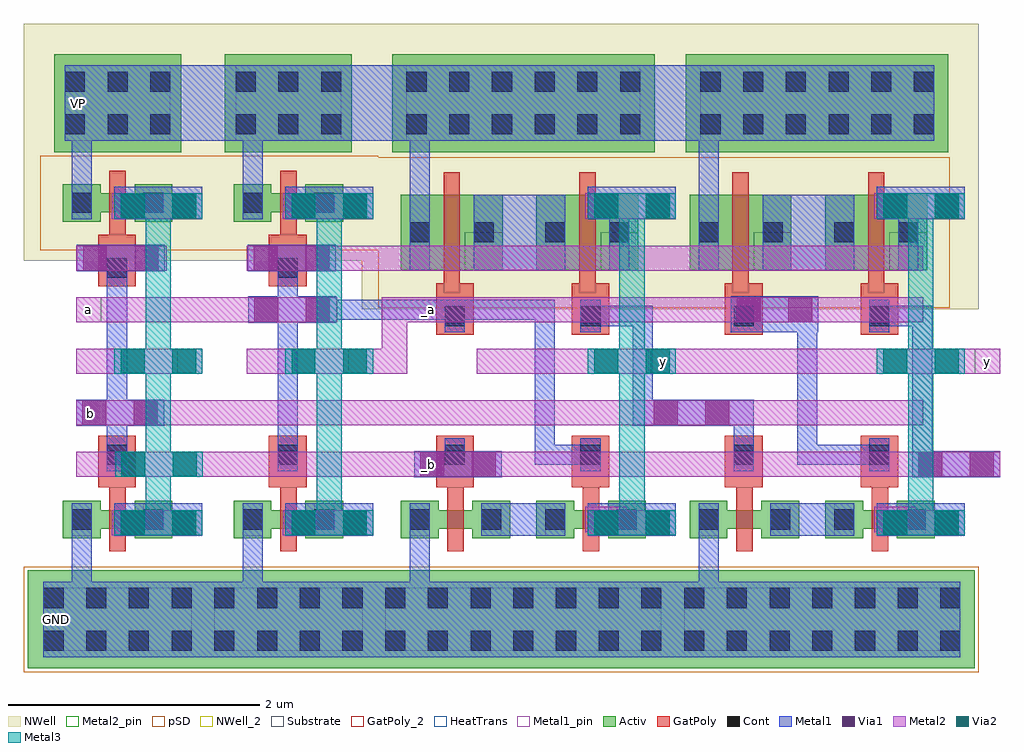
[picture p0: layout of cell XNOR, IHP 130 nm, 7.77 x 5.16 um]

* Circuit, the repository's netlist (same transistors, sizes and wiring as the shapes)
** sch_path: /foss/designs/CHIP-PLL/schematics/divider/schematics/XNOR.sch
.subckt XNOR VP GND a y b
*.PININFO y:O GND:B a:I VP:B b:I
MM1 y a net1 GND sg13_lv_nmos w=0.15u l=0.13u ng=1
MM3 net1 _b GND GND sg13_lv_nmos w=0.15u l=0.13u ng=1
MM2 net2 a VP VP sg13_lv_pmos w=0.15u l=0.13u ng=1 m=4
MM4 net3 _a VP VP sg13_lv_pmos w=0.15u l=0.13u ng=1 m=4
MM5 y _a net4 GND sg13_lv_nmos w=0.15u l=0.13u ng=1
MM6 net4 b GND GND sg13_lv_nmos w=0.15u l=0.13u ng=1
MM7 y b net2 VP sg13_lv_pmos w=0.15u l=0.13u ng=1 m=4
MM8 y _b net3 VP sg13_lv_pmos w=0.15u l=0.13u ng=1 m=4
x1 a _a VP GND inverter
x2 b _b VP GND inverter
.ends

* expanding   symbol:  inverter.sym # of pins=4
** sym_path: /foss/designs/CHIP-PLL/schematics/divider/schematics/inverter.sym
** sch_path: /foss/designs/CHIP-PLL/schematics/divider/schematics/inverter.sch
.subckt inverter IN OUT VP GND
*.PININFO IN:I VP:B OUT:O GND:B
MM1 OUT IN GND GND sg13_lv_nmos w=0.15u l=0.13u ng=1
MM2 OUT IN VP VP sg13_lv_pmos w=0.15u l=0.13u ng=1
.ends

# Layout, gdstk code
from math import pi, radians
import gdstk
lib = gdstk.Library(unit=1e-6, precision=1e-09)
def R(c, l, rs):  # rectangles x0, y0, x1, y1
    for r in rs: c.add(gdstk.rectangle(r[:2], r[2:], *l))
def A(c, l, x, y, w, h, nx, ny, dx, dy):  # array of equal rectangles
    R(c, l, [(x+i*dx, y+j*dy, x+i*dx+w, y+j*dy+h) for i in range(nx) for j in range(ny)])
Activ = (1, 0)
GatPoly = (5, 0)
GatPoly_2 = (5, 2)
Cont = (6, 0)
Metal1 = (8, 0)
Metal1_pin = (8, 2)
Metal2 = (10, 0)
Metal2_pin = (10, 2)
pSD = (14, 0)
Via1 = (19, 0)
Via2 = (29, 0)
Metal3 = (30, 0)
NWell = (31, 0)
NWell_2 = (31, 2)
Substrate = (40, 0)
HeatTrans = (51, 0)

ptap1 = lib.new_cell('ptap1')
R(ptap1, Activ, [(0,0,2.51,0.78)])
A(ptap1, Cont, 0.155, 0.14, 0.16, 0.16, 7, 2, 0.34, 0.34)
R(ptap1, Metal1, [(0.155,0.09,2.355,0.69), (0.155,0.14,2.355,0.64)])
R(ptap1, Metal1_pin, [(0.155,0.14,2.355,0.64)])
R(ptap1, pSD, [(-0.03,-0.03,2.54,0.81)])
R(ptap1, Substrate, [(0,0,2.51,0.78)])
ptap1.add(gdstk.Label('sub!', (1.255,0.01), layer=63, texttype=0))
ptap1.add(gdstk.Label('sub!', (1.255,0.01), layer=40, texttype=0))

nmos = lib.new_cell('nmos')
R(nmos, Activ, [(0,0,0.3,0.3), (0.57,0,0.87,0.3), (0,0.075,0.87,0.225)])
R(nmos, GatPoly, [(0.37,-0.105,0.5,0.405)])
R(nmos, GatPoly_2, [(0.37,-0.105,0.5,0.405)])
R(nmos, Cont, [(0.07,0.07,0.23,0.23), (0.64,0.07,0.8,0.23)])
R(nmos, Metal1, [(0.07,0.02,0.23,0.28), (0.64,0.02,0.8,0.28)])
R(nmos, Metal1_pin, [(0.07,0.02,0.23,0.28), (0.64,0.02,0.8,0.28)])
R(nmos, HeatTrans, [(0.37,-0.105,0.5,0.405)])
nmos.add(gdstk.Label('nmos', (0.435,0.15), layer=63, texttype=0))
nmos.add(gdstk.Label('nmos', (0.435,0.15), layer=51, texttype=0))

via = lib.new_cell('Via')
R(via, GatPoly, [(-0.15,-0.15,0.15,0.15)])
R(via, Cont, [(-0.08,-0.08,0.08,0.08)])
R(via, Metal1, [(-0.13,-0.08,0.13,0.08)])

ptap1_1 = lib.new_cell('ptap1$1')
R(ptap1_1, Activ, [(0,0,2.43,0.78)])
A(ptap1_1, Cont, 0.115, 0.14, 0.16, 0.16, 7, 2, 0.34, 0.34)
R(ptap1_1, Metal1, [(0.115,0.09,2.315,0.69), (0.115,0.14,2.315,0.64)])
R(ptap1_1, Metal1_pin, [(0.115,0.14,2.315,0.64)])
R(ptap1_1, pSD, [(-0.03,-0.03,2.46,0.81)])
R(ptap1_1, Substrate, [(0,0,2.43,0.78)])
ptap1_1.add(gdstk.Label('sub!', (1.215,0.01), layer=63, texttype=0))
ptap1_1.add(gdstk.Label('sub!', (1.215,0.01), layer=40, texttype=0))

via_4 = lib.new_cell('Via$4')
R(via_4, Metal2, [(-0.1,-0.35,0.1,0.35)])
R(via_4, Via2, [(-0.095,-0.3,0.095,-0.11), (-0.095,0.11,0.095,0.3)])
R(via_4, Metal3, [(-0.1,-0.35,0.1,0.35)])

via_2 = lib.new_cell('Via$2')
R(via_2, Metal1, [(-0.105,-0.35,0.105,0.35)])
R(via_2, Metal2, [(-0.1,-0.35,0.1,0.35)])
R(via_2, Via1, [(-0.095,-0.3,0.095,-0.11), (-0.095,0.11,0.095,0.3)])

via_4_1 = lib.new_cell('Via$4$1')
R(via_4_1, Metal2, [(-0.1,-0.35,0.1,0.35)])
R(via_4_1, Via2, [(-0.095,-0.3,0.095,-0.11), (-0.095,0.11,0.095,0.3)])
R(via_4_1, Metal3, [(-0.1,-0.35,0.1,0.35)])

ntap1_1 = lib.new_cell('ntap1$1')
R(ntap1_1, Activ, [(0,0,1.01,0.78)])
A(ntap1_1, Cont, 0.085, 0.14, 0.16, 0.16, 3, 2, 0.34, 0.34)
R(ntap1_1, Metal1, [(0.085,0.09,0.925,0.69)])
R(ntap1_1, Metal1_pin, [(0.085,0.09,0.925,0.69), (0.085,0.14,0.925,0.64)])
R(ntap1_1, NWell, [(-0.24,-0.24,1.25,1.02), (0,0,1.01,0.78)])
R(ntap1_1, NWell_2, [(0,0,1.01,0.78)])
ntap1_1.add(gdstk.Label('well', (0.505,0.01), layer=63, texttype=0))
ntap1_1.add(gdstk.Label('well', (0.505,0.01), layer=31, texttype=0))

ptap1_2 = lib.new_cell('ptap1$2')
R(ptap1_2, Activ, [(0,0,1.43,0.78)])
A(ptap1_2, Cont, 0.125, 0.14, 0.16, 0.16, 4, 2, 0.34, 0.34)
R(ptap1_2, Metal1, [(0.125,0.09,1.305,0.69), (0.125,0.14,1.305,0.64)])
R(ptap1_2, Metal1_pin, [(0.125,0.14,1.305,0.64)])
R(ptap1_2, pSD, [(-0.03,-0.03,1.46,0.81)])
R(ptap1_2, Substrate, [(0,0,1.43,0.78)])
ptap1_2.add(gdstk.Label('sub!', (0.715,0.01), layer=63, texttype=0))
ptap1_2.add(gdstk.Label('sub!', (0.715,0.01), layer=40, texttype=0))

via_2_1 = lib.new_cell('Via$2$1')
R(via_2_1, Metal1, [(-0.105,-0.35,0.105,0.35)])
R(via_2_1, Metal2, [(-0.1,-0.35,0.1,0.35)])
R(via_2_1, Via1, [(-0.095,-0.3,0.095,-0.11), (-0.095,0.11,0.095,0.3)])

nmos_1 = lib.new_cell('nmos$1')
R(nmos_1, Activ, [(0,0,0.3,0.3), (0.57,0,0.87,0.3), (0,0.075,0.87,0.225)])
R(nmos_1, GatPoly, [(0.37,-0.105,0.5,0.405)])
R(nmos_1, GatPoly_2, [(0.37,-0.105,0.5,0.405)])
R(nmos_1, Cont, [(0.07,0.07,0.23,0.23), (0.64,0.07,0.8,0.23)])
R(nmos_1, Metal1, [(0.07,0.02,0.23,0.28), (0.64,0.02,0.8,0.28)])
R(nmos_1, Metal1_pin, [(0.07,0.02,0.23,0.28), (0.64,0.02,0.8,0.28)])
R(nmos_1, HeatTrans, [(0.37,-0.105,0.5,0.405)])
nmos_1.add(gdstk.Label('nmos', (0.435,0.15), layer=63, texttype=0))
nmos_1.add(gdstk.Label('nmos', (0.435,0.15), layer=51, texttype=0))

pmos_1 = lib.new_cell('pmos$1')
R(pmos_1, Activ, [(0,0,0.3,0.3), (0.57,0,0.87,0.3), (0,0.075,0.87,0.225)])
R(pmos_1, GatPoly, [(0.37,-0.105,0.5,0.405), (0.37,-0.105,0.5,0.405)])
R(pmos_1, Cont, [(0.07,0.07,0.23,0.23), (0.64,0.07,0.8,0.23)])
R(pmos_1, Metal1, [(0.07,0.02,0.23,0.28), (0.07,0.02,0.23,0.28), (0.64,0.02,0.8,0.28), (0.64,0.02,0.8,0.28)])
R(pmos_1, pSD, [(-0.18,-0.225,1.05,0.525)])
R(pmos_1, NWell, [(-0.31,-0.31,1.18,0.61)])
R(pmos_1, Substrate, [(0.57,0,0.87,0.3)])
R(pmos_1, HeatTrans, [(0.37,-0.105,0.5,0.405)])
pmos_1.add(gdstk.Label('pmos', (0.435,0.15), layer=63, texttype=0))
pmos_1.add(gdstk.Label('pmos', (0.435,0.15), layer=51, texttype=0))

via_13 = lib.new_cell('Via$13')
R(via_13, GatPoly, [(-0.15,-0.15,0.15,0.15)])
R(via_13, Cont, [(-0.08,-0.08,0.08,0.08)])
R(via_13, Metal1, [(-0.13,-0.08,0.13,0.08)])

via_7 = lib.new_cell('Via$7')
R(via_7, Metal2, [(-0.35,-0.1,0.35,0.1)])
R(via_7, Via2, [(-0.3,-0.095,-0.11,0.095), (0.11,-0.095,0.3,0.095)])
R(via_7, Metal3, [(-0.35,-0.1,0.35,0.1)])

inverter = lib.new_cell('inverter')
R(inverter, GatPoly, [(9.375,7.165,9.675,7.275), (9.375,9.065,9.675,9.175)])
R(inverter, Metal1, [(9.505,6.78,10.205,7.04), (9.505,9.3,10.205,9.56)])
R(inverter, Metal1_pin, [(9.16,6.015,9.36,6.215), (9.325,10.12,9.525,10.32)])
R(inverter, Metal2_pin, [(10.005,8.07,10.205,8.27), (9.2,8.89,9.4,9.09)])
inverter.add(gdstk.FlexPath([(9.245,9.56),(9.245,10.525)], 0.16, ends="flush", simple_path=True, layer=8, datatype=0))  # Metal1
inverter.add(gdstk.FlexPath([(9.245,6.78),(9.245,6.415)], 0.16, ends="flush", simple_path=True, layer=8, datatype=0))  # Metal1
inverter.add(gdstk.FlexPath([(9.525,7.555),(9.525,8.785)], 0.16, ends="flush", simple_path=True, layer=8, datatype=0))  # Metal1
inverter.add(gdstk.FlexPath([(9.65,9.405),(9.485,9.405)], 0.2, ends="flush", simple_path=True, layer=10, datatype=0))  # Metal2
inverter.add(gdstk.FlexPath([(9.65,6.885),(9.485,6.885)], 0.2, ends="flush", simple_path=True, layer=10, datatype=0))  # Metal2
inverter.add(gdstk.FlexPath([(9.2,8.99),(9.92,8.99)], 0.2, ends="flush", simple_path=True, layer=10, datatype=0))  # Metal2
inverter.add(gdstk.FlexPath([(9.2,8.58),(9.92,8.58)], 0.2, ends="flush", simple_path=True, layer=10, datatype=0))  # Metal2
inverter.add(gdstk.FlexPath([(9.2,7.76),(9.92,7.76)], 0.2, ends="flush", simple_path=True, layer=10, datatype=0))  # Metal2
inverter.add(gdstk.FlexPath([(9.2,7.35),(9.92,7.35)], 0.2, ends="flush", simple_path=True, layer=10, datatype=0))  # Metal2
inverter.add(gdstk.FlexPath([(9.2,8.17),(10.205,8.17)], 0.2, ends="flush", simple_path=True, layer=10, datatype=0))  # Metal2
inverter.add(gdstk.FlexPath([(9.855,6.885),(9.855,8.17)], 0.2, ends="flush", simple_path=True, layer=30, datatype=0))  # Metal3
inverter.add(gdstk.FlexPath([(9.855,9.405),(9.855,8.17)], 0.2, ends="flush", simple_path=True, layer=30, datatype=0))  # Metal3
inverter.add(gdstk.Reference(via_4_1, (9.855,6.885), rotation=3*pi/2))
inverter.add(gdstk.Reference(ntap1_1, (9.025,9.835)))
inverter.add(gdstk.Reference(ptap1_2, (8.815,5.725)))
inverter.add(gdstk.Reference(via_2_1, (9.855,6.885), rotation=3*pi/2))
inverter.add(gdstk.Reference(nmos_1, (9.095,6.76)))
inverter.add(gdstk.Reference(pmos_1, (9.095,9.28)))
inverter.add(gdstk.Reference(via_13, (9.525,8.915), rotation=pi/2))
inverter.add(gdstk.Reference(via_13, (9.525,7.425), rotation=3*pi/2))
inverter.add(gdstk.Reference(via_4_1, (9.855,9.405), rotation=3*pi/2))
inverter.add(gdstk.Reference(via_2_1, (9.555,8.99), rotation=3*pi/2))
inverter.add(gdstk.Reference(via_2_1, (9.855,9.405), rotation=3*pi/2))
inverter.add(gdstk.Reference(via_7, (9.855,8.17)))
inverter.add(gdstk.Label('out', (10.105,8.17), layer=10, texttype=25))
inverter.add(gdstk.Label('in', (9.3,8.99), layer=10, texttype=25))
inverter.add(gdstk.Label('VP', (9.295,10.22), layer=8, texttype=25))
inverter.add(gdstk.Label('GND', (9.26,6.115), layer=8, texttype=25))

ntap1 = lib.new_cell('ntap1')
R(ntap1, Activ, [(0,0,2.09,0.78)])
A(ntap1, Cont, 0.115, 0.14, 0.16, 0.16, 6, 2, 0.34, 0.34)
R(ntap1, Metal1, [(0.115,0.09,1.975,0.69)])
R(ntap1, Metal1_pin, [(0.115,0.09,1.975,0.69), (0.115,0.14,1.975,0.64)])
R(ntap1, NWell, [(-0.24,-0.24,2.33,1.02), (0,0,2.09,0.78)])
R(ntap1, NWell_2, [(0,0,2.09,0.78)])
ntap1.add(gdstk.Label('well', (1.045,0.01), layer=63, texttype=0))
ntap1.add(gdstk.Label('well', (1.045,0.01), layer=31, texttype=0))

via_10 = lib.new_cell('Via$10')
R(via_10, Metal2, [(-0.35,-0.1,0.35,0.1)])
R(via_10, Via2, [(-0.3,-0.095,-0.11,0.095), (0.11,-0.095,0.3,0.095)])
R(via_10, Metal3, [(-0.35,-0.1,0.35,0.1)])

via_8 = lib.new_cell('Via$8')
R(via_8, Metal1, [(-0.35,-0.105,0.35,0.105)])
R(via_8, Metal2, [(-0.35,-0.1,0.35,0.1)])
R(via_8, Via1, [(-0.3,-0.095,-0.11,0.095), (0.11,-0.095,0.3,0.095)])

via_6 = lib.new_cell('Via$6')
R(via_6, Metal1, [(-0.35,-0.105,0.35,0.105)])
R(via_6, Metal2, [(-0.35,-0.1,0.35,0.1)])
R(via_6, Via1, [(-0.3,-0.095,-0.11,0.095), (0.11,-0.095,0.3,0.095)])

via_15 = lib.new_cell('Via$15')
R(via_15, Metal2, [(-0.35,-0.1,0.35,0.1)])
R(via_15, Via2, [(-0.3,-0.095,-0.11,0.095), (0.11,-0.095,0.3,0.095)])
R(via_15, Metal3, [(-0.35,-0.1,0.35,0.1)])

via_12 = lib.new_cell('Via$12')
R(via_12, Metal1, [(-0.35,-0.105,0.35,0.105)])
R(via_12, Metal2, [(-0.35,-0.1,0.35,0.1)])
R(via_12, Via1, [(-0.3,-0.095,-0.11,0.095), (0.11,-0.095,0.3,0.095)])

pmos = lib.new_cell('pmos')
R(pmos, Activ, [(0,0,0.3,0.3), (0,0,0.81,0.6), (0.51,0,0.81,0.3)])
R(pmos, GatPoly, [(0.34,-0.18,0.47,0.78), (0.34,-0.18,0.47,0.78)])
R(pmos, Cont, [(0.07,0.22,0.23,0.38), (0.58,0.22,0.74,0.38)])
R(pmos, Metal1, [(0.07,0,0.23,0.6), (0.07,0,0.23,0.6), (0.58,0,0.74,0.6), (0.58,0,0.74,0.6)])
R(pmos, pSD, [(-0.18,-0.3,0.99,0.9)])
R(pmos, NWell, [(-0.31,-0.31,1.12,0.91)])
R(pmos, Substrate, [(0.51,0,0.81,0.3)])
R(pmos, HeatTrans, [(0.34,-0.18,0.47,0.78)])
pmos.add(gdstk.Label('pmos', (0.405,0.3), layer=63, texttype=0))
pmos.add(gdstk.Label('pmos', (0.405,0.3), layer=51, texttype=0))

xnor = lib.new_cell('XNOR')
R(xnor, GatPoly, [(9.375,7.165,9.675,7.275), (10.455,7.165,10.755,7.275), (11.675,7.165,11.975,7.275), (12.755,7.165,13.055,7.275), (9.375,8.68,9.675,8.79), (10.455,8.68,10.755,8.79), (11.675,8.68,11.975,8.79), (12.755,8.68,13.055,8.79)])
R(xnor, Metal1, [(7.43,5.815,9.235,6.415), (11.12,5.815,11.485,6.415), (11.17,5.815,11.395,6.415), (9.735,6.78,10.405,7.04), (10.585,6.78,11.285,7.04), (12.035,6.78,12.705,7.04), (12.885,6.78,13.585,7.04), (11.72,8.4,12.42,8.685), (9.675,8.895,10.405,9.495), (11.975,8.895,12.705,9.495), (10.585,9.3,11.285,9.56), (12.885,9.3,13.585,9.56), (7.26,9.925,8.035,10.525), (8.425,9.925,13.3,10.525), (11,9.925,11.63,10.525)])
R(xnor, Metal1_pin, [(6.25,6.015,6.45,6.215), (6.42,10.12,6.62,10.32)])
R(xnor, Metal2_pin, [(6.51,7.66,6.71,7.86), (11.085,8.07,11.285,8.27), (13.665,8.07,13.865,8.27), (6.51,8.48,6.71,8.68)])
R(xnor, pSD, [(11.035,8.595,11.3,9.795), (7.455,9.055,7.585,9.805), (8.815,9.055,8.915,9.805)])
R(xnor, NWell, [(13.505,8.585,13.695,9.715)])
xnor.add(gdstk.FlexPath([(8.48,8.58),(10.32,8.58)], 0.16, ends="flush", simple_path=True, layer=8, datatype=0))  # Metal1
xnor.add(gdstk.FlexPath([(10.605,7.425),(10.24,7.425),(10.24,8.66)], 0.16, ends="flush", simple_path=True, layer=8, datatype=0))  # Metal1
xnor.add(gdstk.FlexPath([(10.605,8.53),(11.1,8.53)], 0.16, ends="flush", simple_path=True, layer=8, datatype=0))  # Metal1
xnor.add(gdstk.FlexPath([(11.02,8.53),(11.02,7.655)], 0.16, ends="flush", simple_path=True, layer=8, datatype=0))  # Metal1
xnor.add(gdstk.FlexPath([(12.905,8.53),(13.245,8.53),(13.245,7.245)], 0.16, ends="flush", simple_path=True, layer=8, datatype=0))  # Metal1
xnor.add(gdstk.FlexPath([(11.545,9.495),(11.545,10.525)], 0.16, ends="flush", simple_path=True, layer=8, datatype=0))  # Metal1
xnor.add(gdstk.FlexPath([(9.245,9.495),(9.245,10.525)], 0.16, ends="flush", simple_path=True, layer=8, datatype=0))  # Metal1
xnor.add(gdstk.FlexPath([(11.545,6.78),(11.545,6.415)], 0.16, ends="flush", simple_path=True, layer=8, datatype=0))  # Metal1
xnor.add(gdstk.FlexPath([(12.905,7.425),(12.33,7.425),(12.33,8.58)], 0.16, ends="flush", simple_path=True, layer=8, datatype=0))  # Metal1
xnor.add(gdstk.FlexPath([(11.825,7.425),(11.825,7.865)], 0.16, ends="flush", simple_path=True, layer=8, datatype=0))  # Metal1
xnor.add(gdstk.FlexPath([(9.245,6.78),(9.245,6.415)], 0.16, ends="flush", simple_path=True, layer=8, datatype=0))  # Metal1
xnor.add(gdstk.FlexPath([(13.195,9.405),(12.865,9.405)], 0.2, ends="flush", simple_path=True, layer=10, datatype=0))  # Metal2
xnor.add(gdstk.FlexPath([(10.895,9.405),(10.565,9.405)], 0.2, ends="flush", simple_path=True, layer=10, datatype=0))  # Metal2
xnor.add(gdstk.FlexPath([(13.585,8.17),(13.865,8.17)], 0.2, ends="flush", simple_path=True, layer=10, datatype=0))  # Metal2
xnor.add(gdstk.FlexPath([(9.7,8.17),(11.285,8.17)], 0.2, ends="flush", simple_path=True, layer=10, datatype=0))  # Metal2
xnor.add(gdstk.FlexPath([(9.2,8.99),(8.575,8.99)], 0.2, ends="flush", simple_path=True, layer=10, datatype=0))  # Metal2
xnor.add(gdstk.FlexPath([(8.025,8.58),(7.23,8.58)], 0.2, ends="flush", simple_path=True, layer=10, datatype=0))  # Metal2
xnor.add(gdstk.FlexPath([(7.065,7.35),(7.065,7.35)], 0.2, ends="flush", simple_path=True, layer=10, datatype=0))  # Metal2
xnor.add(gdstk.FlexPath([(7.52,7.35),(7.87,7.35)], 0.2, ends="flush", simple_path=True, layer=10, datatype=0))  # Metal2
xnor.add(gdstk.FlexPath([(8.59,7.35),(9.2,7.35)], 0.2, ends="flush", simple_path=True, layer=10, datatype=0))  # Metal2
xnor.add(gdstk.FlexPath([(7.23,7.76),(7.87,7.76)], 0.2, ends="flush", simple_path=True, layer=10, datatype=0))  # Metal2
xnor.add(gdstk.FlexPath([(8.59,7.76),(9.2,7.76)], 0.2, ends="flush", simple_path=True, layer=10, datatype=0))  # Metal2
xnor.add(gdstk.FlexPath([(7.21,7.76),(6.51,7.76)], 0.2, ends="flush", simple_path=True, layer=10, datatype=0))  # Metal2
xnor.add(gdstk.FlexPath([(9.2,8.58),(9.045,8.58),(9.045,8.075)], 0.2, ends="flush", simple_path=True, layer=10, datatype=0))  # Metal2
xnor.add(gdstk.FlexPath([(8.875,8.17),(9.145,8.17)], 0.2, ends="flush", simple_path=True, layer=10, datatype=0))  # Metal2
xnor.add(gdstk.FlexPath([(13.195,6.91),(12.865,6.91)], 0.2, ends="flush", simple_path=True, layer=10, datatype=0))  # Metal2
xnor.add(gdstk.FlexPath([(11.5,8.17),(13.585,8.17)], 0.2, ends="flush", simple_path=True, layer=10, datatype=0))  # Metal2
xnor.add(gdstk.FlexPath([(11.5,8.99),(13.255,8.99)], 0.2, ends="flush", simple_path=True, layer=10, datatype=0))  # Metal2
xnor.add(gdstk.FlexPath([(11.5,7.76),(13.255,7.76)], 0.2, ends="flush", simple_path=True, layer=10, datatype=0))  # Metal2
xnor.add(gdstk.FlexPath([(11.5,7.35),(13.255,7.35)], 0.2, ends="flush", simple_path=True, layer=10, datatype=0))  # Metal2
xnor.add(gdstk.FlexPath([(11.5,8.58),(10.895,8.58)], 0.2, ends="flush", simple_path=True, layer=10, datatype=0))  # Metal2
xnor.add(gdstk.FlexPath([(11.5,7.35),(10.87,7.35)], 0.2, ends="flush", simple_path=True, layer=10, datatype=0))  # Metal2
xnor.add(gdstk.FlexPath([(11.76,7.76),(11.06,7.76)], 0.2, ends="flush", simple_path=True, layer=10, datatype=0))  # Metal2
xnor.add(gdstk.FlexPath([(11.5,8.99),(10.785,8.99)], 0.2, ends="flush", simple_path=True, layer=10, datatype=0))  # Metal2
xnor.add(gdstk.FlexPath([(10.895,6.91),(10.565,6.91)], 0.2, ends="flush", simple_path=True, layer=10, datatype=0))  # Metal2
xnor.add(gdstk.FlexPath([(13.515,7.35),(13.515,7.35)], 0.2, ends="flush", simple_path=True, layer=10, datatype=0))  # Metal2
xnor.add(gdstk.FlexPath([(10.71,7.76),(11.73,7.76)], 0.2, ends="flush", simple_path=True, layer=10, datatype=0))  # Metal2
xnor.add(gdstk.FlexPath([(11.285,8.17),(11.5,8.17)], 0.2, ends="flush", simple_path=True, layer=10, datatype=0))  # Metal2
xnor.add(gdstk.FlexPath([(11.5,8.58),(13.255,8.58)], 0.2, ends="flush", simple_path=True, layer=10, datatype=0))  # Metal2
xnor.add(gdstk.FlexPath([(9.2,8.99),(10.955,8.99)], 0.2, ends="flush", simple_path=True, layer=10, datatype=0))  # Metal2
xnor.add(gdstk.FlexPath([(9.2,8.58),(10.955,8.58)], 0.2, ends="flush", simple_path=True, layer=10, datatype=0))  # Metal2
xnor.add(gdstk.FlexPath([(9.2,7.76),(10.955,7.76)], 0.2, ends="flush", simple_path=True, layer=10, datatype=0))  # Metal2
xnor.add(gdstk.FlexPath([(9.2,7.35),(10.955,7.35)], 0.2, ends="flush", simple_path=True, layer=10, datatype=0))  # Metal2
xnor.add(gdstk.FlexPath([(13.235,9.405),(13.235,8.17)], 0.2, ends="flush", simple_path=True, layer=30, datatype=0))  # Metal3
xnor.add(gdstk.FlexPath([(13.235,8.17),(13.235,6.885)], 0.2, ends="flush", simple_path=True, layer=30, datatype=0))  # Metal3
xnor.add(gdstk.FlexPath([(10.935,9.405),(10.935,8.17)], 0.2, ends="flush", simple_path=True, layer=30, datatype=0))  # Metal3
xnor.add(gdstk.FlexPath([(10.935,8.17),(10.935,6.885)], 0.2, ends="flush", simple_path=True, layer=30, datatype=0))  # Metal3
xnor.add(gdstk.Reference(ptap1, (8.815,5.725)))
xnor.add(gdstk.Reference(nmos, (10.175,6.76)))
xnor.add(gdstk.Reference(nmos, (9.095,6.76)))
xnor.add(gdstk.Reference(via, (10.605,8.53), rotation=pi/2))
xnor.add(gdstk.Reference(via, (9.525,7.425), rotation=3*pi/2))
xnor.add(gdstk.Reference(via, (10.605,7.425), rotation=3*pi/2))
xnor.add(gdstk.Reference(ptap1_1, (11.235,5.725)))
xnor.add(gdstk.Reference(nmos, (12.475,6.76)))
xnor.add(gdstk.Reference(nmos, (11.395,6.76)))
xnor.add(gdstk.Reference(via, (12.905,8.53), rotation=pi/2))
xnor.add(gdstk.Reference(via, (11.825,7.425), rotation=3*pi/2))
xnor.add(gdstk.Reference(via_4, (13.235,6.885), rotation=3*pi/2))
xnor.add(gdstk.Reference(via_2, (13.235,6.885), rotation=3*pi/2))
xnor.add(gdstk.Reference(via, (11.825,8.53), rotation=3*pi/2))
xnor.add(gdstk.Reference(via, (12.905,7.425), rotation=3*pi/2))
xnor.add(gdstk.Reference(via_2, (10.935,6.885), rotation=3*pi/2))
xnor.add(gdstk.Reference(via_4, (10.935,6.885), rotation=3*pi/2))
xnor.add(gdstk.Reference(inverter, (-2.69,0)))
xnor.add(gdstk.Reference(inverter, (-1.33,0)))
xnor.add(gdstk.Reference(ntap1, (11.365,9.835)))
xnor.add(gdstk.Reference(ntap1, (9.025,9.835)))
xnor.add(gdstk.Reference(via_2, (13.235,9.405), rotation=3*pi/2))
xnor.add(gdstk.Reference(via_4, (13.235,9.405), rotation=3*pi/2))
xnor.add(gdstk.Reference(via_4, (10.935,9.405), rotation=3*pi/2))
xnor.add(gdstk.Reference(via_2, (10.935,9.405), rotation=3*pi/2))
xnor.add(gdstk.Reference(via_10, (13.235,8.17)))
xnor.add(gdstk.Reference(via_8, (12.07,8.58)))
xnor.add(gdstk.Reference(via_8, (11.41,7.76)))
xnor.add(gdstk.Reference(via_10, (10.935,8.17)))
xnor.add(gdstk.Reference(via_8, (9.55,7.35)))
xnor.add(gdstk.Reference(via_6, (8.23,8.58)))
xnor.add(gdstk.Reference(via_15, (7.17,7.35)))
xnor.add(gdstk.Reference(via_8, (6.86,7.76)))
xnor.add(gdstk.Reference(via_12, (13.515,7.35)))
xnor.add(gdstk.Reference(pmos, (12.475,8.895)))
xnor.add(gdstk.Reference(pmos, (11.395,8.895)))
xnor.add(gdstk.Reference(pmos, (10.175,8.895)))
xnor.add(gdstk.Reference(via, (9.525,8.53), rotation=pi/2))
xnor.add(gdstk.Reference(pmos, (9.095,8.895)))
xnor.add(gdstk.Label('y', (13.765,8.17), layer=10, texttype=25))
xnor.add(gdstk.Label('a', (6.61,8.58), layer=10, texttype=25))
xnor.add(gdstk.Label('b', (6.625,7.755), layer=10, texttype=25))
xnor.add(gdstk.Label('y', (11.185,8.17), layer=10, texttype=25))
xnor.add(gdstk.Label('_a', (9.315,8.58), layer=10, texttype=25))
xnor.add(gdstk.Label('_b', (9.315,7.345), layer=10, texttype=25))
xnor.add(gdstk.Label('GND', (6.35,6.115), layer=8, texttype=25))
xnor.add(gdstk.Label('VP', (6.525,10.22), layer=8, texttype=25))

lib.write_gds('XNOR.gds')
